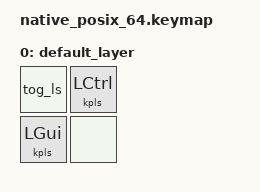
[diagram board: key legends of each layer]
#include <dt-bindings/zmk/keys.h>
#include <behaviors.dtsi>
#include <dt-bindings/zmk/kscan_mock.h>
#include <layout_shift.dtsi>

&tog_ls { layout-maps = <&layout_shift_map_swap_ctrl_cmd>; };

&kscan {
    events = <
        ZMK_MOCK_PRESS(0,0,10)
        ZMK_MOCK_RELEASE(0,0,10)
        ZMK_MOCK_PRESS(0,1,10)
        ZMK_MOCK_RELEASE(0,1,10)
        ZMK_MOCK_PRESS(1,0,10)
        ZMK_MOCK_RELEASE(1,0,10)
    >;
};

/ {
    keymap {
        compatible = "zmk,keymap";

        default_layer {
            bindings = <
                &tog_ls &kpls LEFT_CONTROL
                &kpls LEFT_GUI &none
            >;
        };
    };
};
